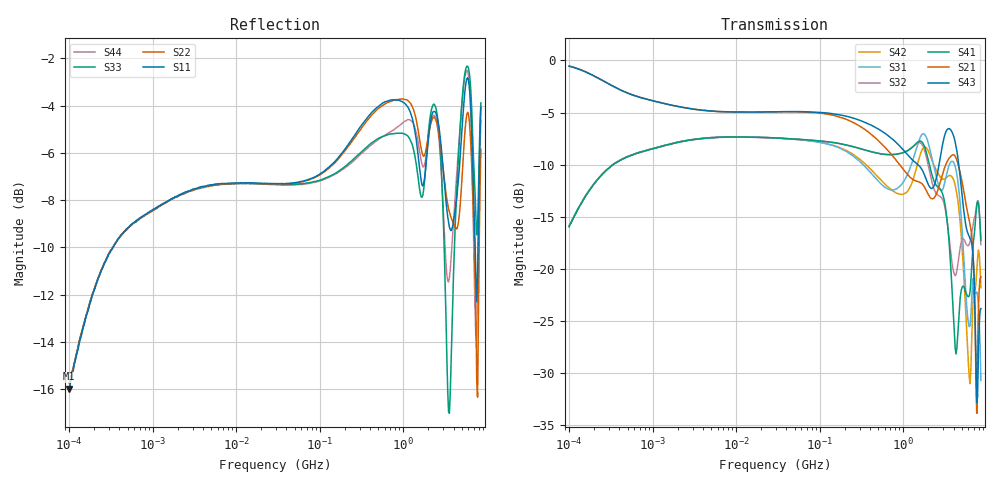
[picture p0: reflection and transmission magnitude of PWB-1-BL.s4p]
# MHz S MA R 50
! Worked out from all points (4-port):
!   498 points, 100 kHz to 8.5 GHz, reference 50 ohm
!   strongest paths, dB at 100 kHz, 1.698 MHz, 29.49 MHz, 500.7 MHz, 8.5 GHz:
!     S43: -0.6, -4.3, -4.9, -6.6, -23.8
!     S21: -0.6, -4.3, -4.9, -7.7, -20.8
!     S41: -16.0, -8.0, -7.4, -8.9, -17.2
!     S32: -15.9, -8.0, -7.4, -8.9, -17.7
!     S31: -15.9, -8.0, -7.4, -11.6, -30.7
!     S42: -15.9, -8.0, -7.4, -11.2, -21.8
!   lowest |S11| = -16.0 dB at 100 kHz (marker M1), VSWR 1.38, Z = 55 + j16.1 ohm
!   |S11| at or under -10 dB: start of sweep to 334.7 kHz; 7.263 GHz to 7.861 GHz (598.4 MHz wide, 7.91 % of centre)
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0.1  0.1587 64.2  0.9384 -8.9  0.1596 65.6  0.1593 -114.7
     0.9384 -8.9  0.1637 66.0  0.1601 -115.1  0.1608 64.7
     0.1596 65.6  0.1601 -115.1  0.1568 64.3  0.9384 -8.9
     0.1593 -114.7  0.1608 64.7  0.9384 -8.9  0.1631 65.2
355.4419  0.5888 -24.7  0.463 -70.2  0.3069 -49.4  0.371 101.1
          0.463 -70.2  0.5813 -23.3  0.3708 101.2  0.3169 -50.9
          0.3069 -49.4  0.3708 101.2  0.5135 -27.6  0.5028 -62.7
          0.371 101.1  0.3169 -50.9  0.5028 -62.7  0.5089 -26.1
2365.873  0.613 -175.5  0.22 -90.6  0.3009 115.7  0.2605 140.5
          0.22 -90.6  0.595 -179.1  0.2383 146.7  0.3102 121.1
          0.3009 115.7  0.2383 146.7  0.6338 -178.2  0.2535 -80.5
          0.2605 140.5  0.3102 121.1  0.2535 -80.5  0.6016 -175.5
3488.216  0.357 71.4  0.3362 106.7  0.3088 23.2  0.1438 -7.3
          0.3362 106.7  0.3813 59.8  0.1483 18.6  0.2794 10.2
          0.3088 23.2  0.1483 18.6  0.1419 79.9  0.4708 94.3
          0.1438 -7.3  0.2794 10.2  0.4708 94.3  0.2672 84.3
4588.001  0.442 -37.4  0.3111 -38.4  0.2474 -128.4  0.05614 -35.7
          0.3111 -38.4  0.3582 -49.3  0.1112 -41.3  0.2006 -130.4
          0.2474 -128.4  0.1112 -41.3  0.4937 -11.1  0.3237 -64.1
          0.05614 -35.7  0.2006 -130.4  0.3237 -64.1  0.5129 -20.0
6611.76  0.552 -154.3  0.1438 95.7  0.0733 70.6  0.1031 162.2
         0.1438 95.7  0.4675 -142.6  0.15 127.8  0.04719 105.6
         0.0733 70.6  0.15 127.8  0.6164 -161.5  0.1327 90.5
         0.1031 162.2  0.04719 105.6  0.1327 90.5  0.52 -160.5
8500  0.6258 -49.9  0.09156 -31.6  0.02915 -116.8  0.1373 -90.6
      0.09156 -31.6  0.5102 -45.7  0.1305 -127.1  0.08114 -121.8
      0.02915 -116.8  0.1305 -127.1  0.6392 -50.8  0.06447 -54.0
      0.1373 -90.6  0.08114 -121.8  0.06447 -54.0  0.5877 -47.9
